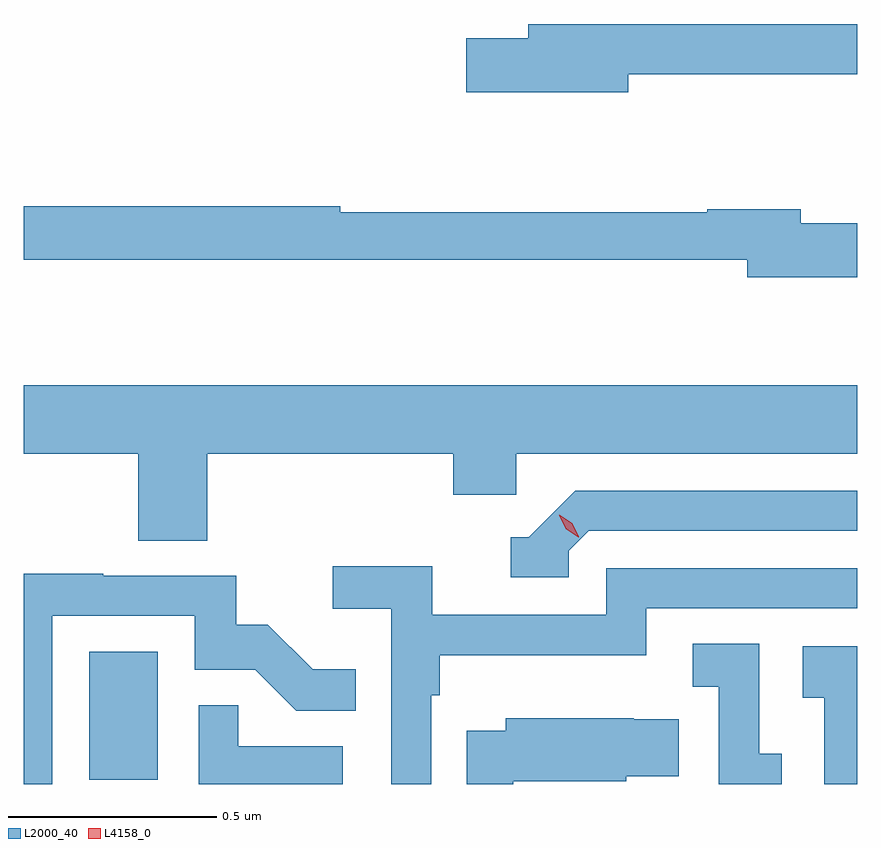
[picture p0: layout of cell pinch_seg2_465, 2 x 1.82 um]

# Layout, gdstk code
import gdstk
lib = gdstk.Library(unit=1e-6, precision=1e-09)
def R(c, l, rs):  # rectangles x0, y0, x1, y1
    for r in rs: c.add(gdstk.rectangle(r[:2], r[2:], *l))
def P(c, l, *ps):  # polygons
    for p in ps: c.add(gdstk.Polygon(p, *l))
L2000_40 = (2000, 40)
L4158_0 = (4158, 0)

pinch_seg2_465 = lib.new_cell('pinch_seg2_465')
R(pinch_seg2_465, L2000_40, [(929.666,606.894,929.83,607.201)])
P(pinch_seg2_465, L2000_40, [(930.958,608.586),(931.508,608.586),(931.508,608.707),(930.719,608.707),(930.719,608.673),(930.57,608.673),(930.57,608.543),(930.958,608.543)],
  [(931.508,608.229),(931.372,608.229),(931.372,608.263),(931.148,608.263),(931.148,608.255),(930.268,608.255),(930.268,608.27),(929.508,608.27),(929.508,608.142),(931.244,608.142),(931.244,608.099),(931.508,608.099)],
  [(929.948,607.676),(930.539,607.676),(930.539,607.578),(930.69,607.578),(930.69,607.676),(931.508,607.676),(931.508,607.84),(929.508,607.84),(929.508,607.676),(929.783,607.676),(929.783,607.468),(929.948,607.468)],
  [(930.816,607.443),(930.864,607.491),(931.508,607.491),(931.508,607.587),(930.831,607.587),(930.72,607.476),(930.677,607.476),(930.677,607.38),(930.816,607.38)],
  [(930.486,607.097),(930.506,607.097),(930.506,607.193),(931.002,607.193),(931.002,607.305),(931.508,607.305),(931.508,607.401),(930.906,607.401),(930.906,607.29),(930.488,607.29),(930.488,607.406),(930.249,607.406),(930.249,607.304),(930.39,607.304),(930.39,606.884),(930.486,606.884)],
  [(929.577,607.287),(929.919,607.287),(929.919,607.158),(930.064,607.158),(930.162,607.06),(930.305,607.06),(930.305,607.159),(930.201,607.159),(930.094,607.266),(930.018,607.266),(930.018,607.383),(929.699,607.383),(929.699,607.388),(929.508,607.388),(929.508,606.884),(929.577,606.884)],
  [(931.327,606.957),(931.272,606.957),(931.272,607.22),(931.113,607.22),(931.113,607.117),(931.176,607.117),(931.176,606.884),(931.327,606.884)],
  [(931.508,607.215),(931.377,607.215),(931.377,607.091),(931.428,607.091),(931.428,606.884),(931.508,606.884)],
  [(930.274,606.975),(930.023,606.975),(930.023,607.073),(929.928,607.073),(929.928,606.884),(930.274,606.884)],
  [(930.682,606.89),(930.954,606.89),(930.954,606.902),(931.079,606.902),(931.079,607.039),(930.971,607.039),(930.971,607.042),(930.665,607.042),(930.665,607.012),(930.571,607.012),(930.571,606.884),(930.682,606.884)])
P(pinch_seg2_465, L4158_0, [(930.839,607.476),(930.809,607.496),(930.793,607.529),(930.793,607.53),(930.793,607.53),(930.824,607.509),(930.84,607.477),(930.84,607.476)])

lib.write_gds('pinch_seg2_465.gds')
